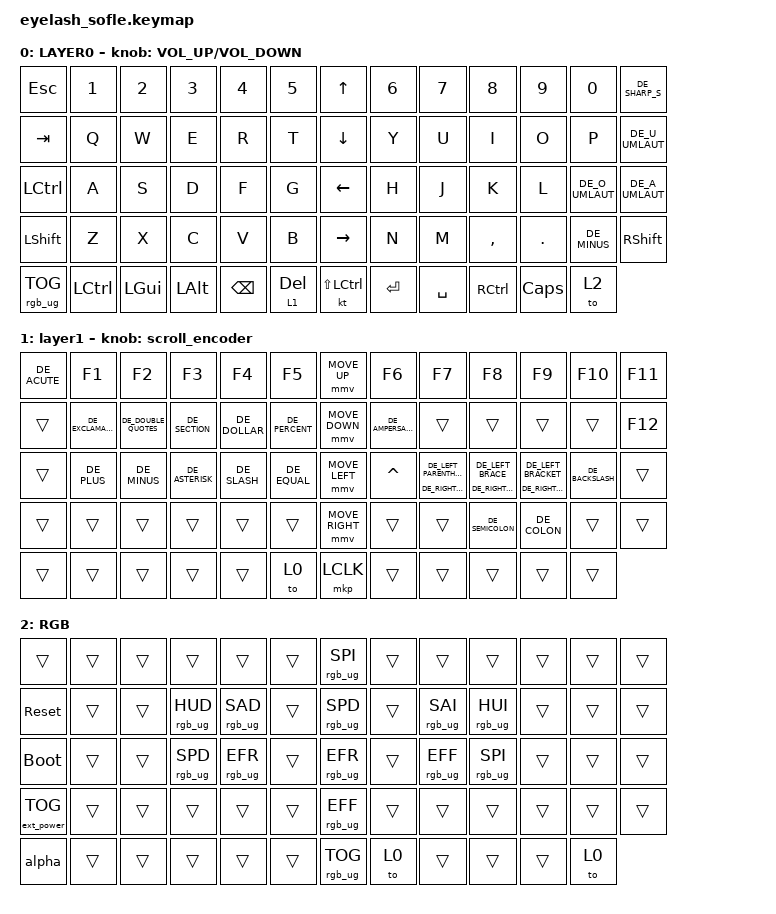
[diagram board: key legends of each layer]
#define ZMK_POINTING_DEFAULT_MOVE_VAL 1200  // 600
#define ZMK_POINTING_DEFAULT_SCRL_VAL 25   // 10

#include "keys_de.h"
#include <input/processors.dtsi>
#include <zephyr/dt-bindings/input/input-event-codes.h>
#include <behaviors.dtsi>
#include <dt-bindings/zmk/ext_power.h>
#include <dt-bindings/zmk/keys.h>
#include <dt-bindings/zmk/pointing.h>
#include <dt-bindings/zmk/rgb.h>

&mmv_input_listener { input-processors = <&zip_xy_scaler 2 1>; };

&msc_input_listener { input-processors = <&zip_scroll_scaler 2 1>; };

&msc {
    acceleration-exponent = <1>;      // 0
    time-to-max-speed-ms = <100>;       // 300
    delay-ms = <0>;                   // 0
};

&mmv {
    time-to-max-speed-ms = <500>;
    acceleration-exponent = <1>;
    trigger-period-ms = <16>;
};

/ {
    scroll_encoder: scroll_encoder {
        compatible = "zmk,behavior-sensor-rotate";
        #sensor-binding-cells = <0>;
        bindings = <&msc SCRL_DOWN>, <&msc SCRL_UP>;

        tap-ms = <100>;
    };

    macros {
        alpha: alpha {
            compatible = "zmk,behavior-macro";
            #binding-cells = <0>;
            bindings = <&kp KP_NUMBER_2 &kp KP_NUMBER_2 &kp KP_NUMBER_4 &kp LA(X)>;
            label = "ALPHA";
        };

        betta: betta {
            compatible = "zmk,behavior-macro";
            #binding-cells = <0>;
            bindings = <&none>;
            label = "BETTA";
        };
    };

    behaviors {
    };

    combos {
        compatible = "zmk,combos";

        copy {
            bindings = <&kt K_COPY>;
            key-positions = <30 34>;
        };

        Paste {
            bindings = <&kp K_PASTE>;
            key-positions = <29 35>;
        };

        cut {
            bindings = <&kp K_CUT>;
            key-positions = <31 33>;
        };
    };

    keymap {
        compatible = "zmk,keymap";

        layer0 {
            bindings = <
&kp ESC           &kp N1     &kp N2        &kp N3        &kp N4         &kp N5          &kp UP                &kp N6      &kp N7     &kp N8             &kp N9    &kp N0           &kp DE_SHARP_S
&kp TAB           &kp Q      &kp W         &kp E         &kp R          &kp T           &kp DOWN              &kp Y       &kp U      &kp I              &kp O     &kp P            &kp DE_U_UMLAUT
&kp LEFT_CONTROL  &kp A      &kp S         &kp D         &kp F          &kp G           &kp LEFT              &kp H       &kp J      &kp K              &kp L     &kp DE_O_UMLAUT  &kp DE_A_UMLAUT
&kp LSHFT         &kp Z      &kp X         &kp C         &kp V          &kp B           &kp RIGHT             &kp N       &kp M      &kp COMMA          &kp DOT   &kp DE_MINUS     &kp RIGHT_SHIFT
&rgb_ug RGB_TOG   &kp LCTRL  &kp LEFT_GUI  &kp LEFT_ALT  &kp BACKSPACE  &lt 1 DELETE    &kt LS(LEFT_CONTROL)  &kp RETURN  &kp SPACE  &kp RIGHT_CONTROL  &kp CAPS  &to 2
            >;

            sensor-bindings = <&inc_dec_kp C_VOLUME_UP C_VOLUME_DOWN>;
            display-name = "LAYER0";
        };

        Zeichen {
            bindings = <
&kp DE_ACUTE  &kp F1              &kp F2                &kp F3           &kp F4         &kp F5            &mmv MOVE_UP     &kp F6            &kp F7                                        &kp F8                            &kp F9                                &kp F10           &kp F11
&trans        &kp DE_EXCLAMATION  &kp DE_DOUBLE_QUOTES  &kp DE_SECTION   &kp DE_DOLLAR  &kp DE_PERCENT    &mmv MOVE_DOWN   &kp DE_AMPERSAND  &trans                                        &trans                            &trans                                &trans            &kp F12
&trans        &kp DE_PLUS         &kp DE_MINUS          &kp DE_ASTERISK  &kp DE_SLASH   &kp DE_EQUAL      &mmv MOVE_LEFT   &kp CARET         &mt DE_RIGHT_PARENTHESIS DE_LEFT_PARENTHESIS  &mt DE_RIGHT_BRACE DE_LEFT_BRACE  &mt DE_RIGHT_BRACKET DE_LEFT_BRACKET  &kp DE_BACKSLASH  &trans
&trans        &trans              &trans                &trans           &trans         &trans            &mmv MOVE_RIGHT  &trans            &trans                                        &kp DE_SEMICOLON                  &kp DE_COLON                          &trans            &trans
&trans        &trans              &trans                &trans           &trans         &to 0             &mkp LCLK        &trans            &trans                                        &trans                            &trans                                &trans
            >;

            display-name = "layer1";
            sensor-bindings = <&scroll_encoder>;
        };

        RGB {
            bindings = <
&trans             &trans  &trans  &trans           &trans           &trans    &rgb_ug RGB_SPI  &trans  &trans           &trans           &trans  &trans  &trans
&sys_reset         &trans  &trans  &rgb_ug RGB_HUD  &rgb_ug RGB_SAD  &trans    &rgb_ug RGB_SPD  &trans  &rgb_ug RGB_SAI  &rgb_ug RGB_HUI  &trans  &trans  &trans
&bootloader        &trans  &trans  &rgb_ug RGB_SPD  &rgb_ug RGB_EFR  &trans    &rgb_ug RGB_EFR  &trans  &rgb_ug RGB_EFF  &rgb_ug RGB_SPI  &trans  &trans  &trans
&ext_power EP_TOG  &trans  &trans  &trans           &trans           &trans    &rgb_ug RGB_EFF  &trans  &trans           &trans           &trans  &trans  &trans
&alpha             &trans  &trans  &trans           &trans           &trans    &rgb_ug RGB_TOG  &to 0   &trans           &trans           &trans  &to 0
            >;
        };
    };
};
